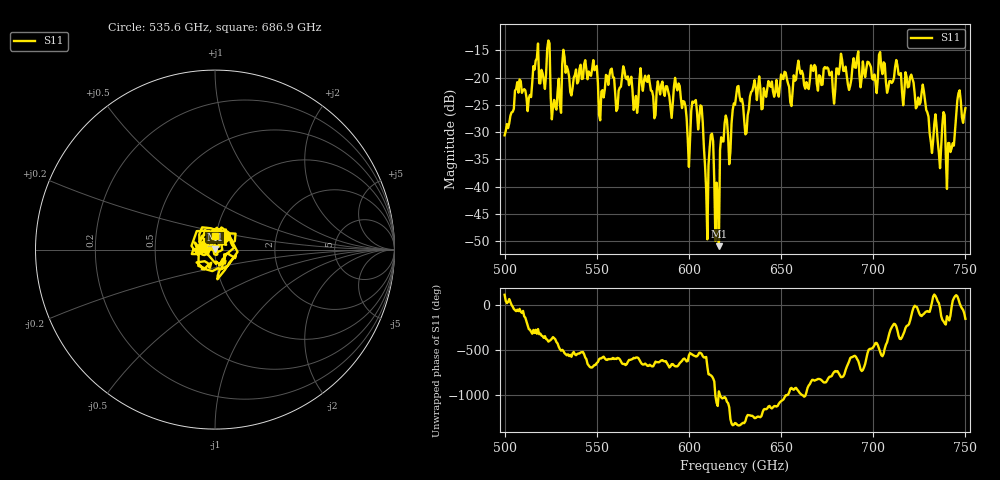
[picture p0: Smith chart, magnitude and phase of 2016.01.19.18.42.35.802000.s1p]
!Created with skrf (http://scikit-rf.org).
# GHz S RI R 50.0
!freq ReS11 ImS11
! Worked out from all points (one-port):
!   401 points, 500 GHz to 750 GHz, reference 50 ohm
!   lowest |S11| = -50.9 dB at 616.2 GHz (marker M1), VSWR 1.01, Z = 49.9 + j0.255 ohm
!   |S11| at or under -10 dB: start of sweep to end of sweep
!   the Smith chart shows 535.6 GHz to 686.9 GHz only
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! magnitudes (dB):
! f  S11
! 500 GHz  -30.6
! 507.5 GHz  -22.7
! 513.1 GHz  -23.8
! 516.9 GHz  -16.9
! 523.8 GHz  -13.2
! 526.9 GHz  -24.1
! 531.2 GHz  -17.5
! 562.5 GHz  -21.8
! 593.8 GHz  -22.3
! 599.4 GHz  -31.3
! 602.5 GHz  -24.6
! 606.9 GHz  -25.3
! 609.4 GHz  -40.7
! 612.5 GHz  -30.3
! 615 GHz  -39.3
! 616.2 GHz  -50.9
! 618.8 GHz  -31.7
! 622.5 GHz  -33.6
! 625 GHz  -25.0
! 631.2 GHz  -30.2
! 635 GHz  -21.6
! 656.2 GHz  -22.6
! 660 GHz  -18.4
! 687.5 GHz  -21.5
! 718.8 GHz  -21.8
! 740.6 GHz  -32.0
! 746.2 GHz  -22.8
! 750 GHz  -25.6
